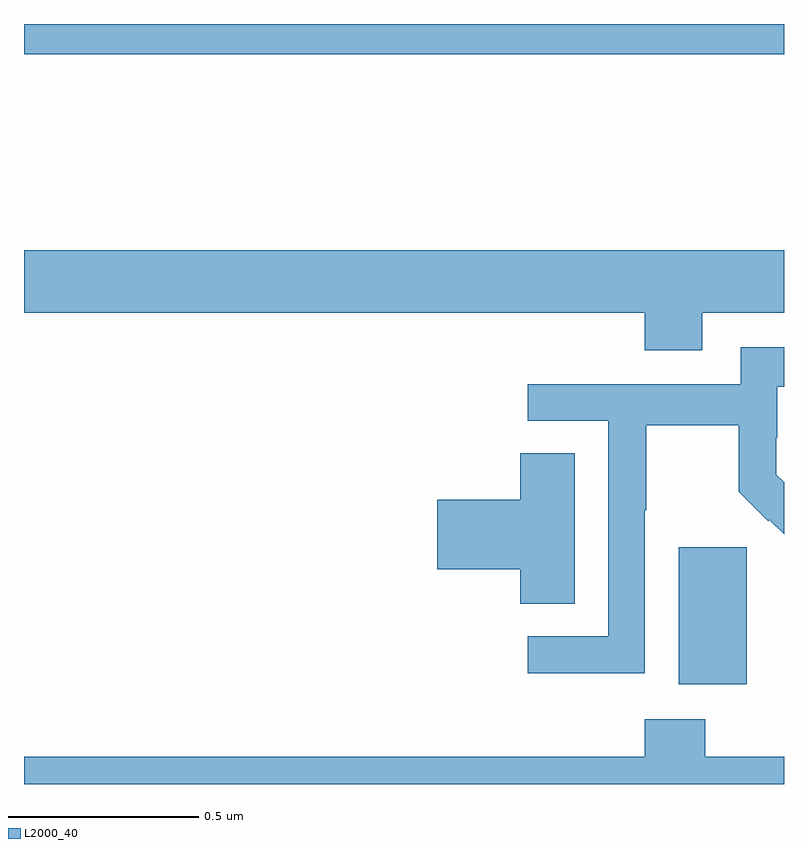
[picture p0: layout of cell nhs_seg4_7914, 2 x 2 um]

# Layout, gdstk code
import gdstk
lib = gdstk.Library(unit=1e-6, precision=1e-09)
def R(c, l, rs):  # rectangles x0, y0, x1, y1
    for r in rs: c.add(gdstk.rectangle(r[:2], r[2:], *l))
def P(c, l, *ps):  # polygons
    for p in ps: c.add(gdstk.Polygon(p, *l))
L2000_40 = (2000, 40)

nhs_seg4_7914 = lib.new_cell('nhs_seg4_7914')
R(nhs_seg4_7914, L2000_40, [(209.723,809.162,209.902,809.523), (208,810.82,210,810.9)])
P(nhs_seg4_7914, L2000_40, [(209.785,810.14),(210,810.14),(210,810.304),(208,810.304),(208,810.14),(209.633,810.14),(209.633,810.041),(209.785,810.041)],
  [(209.634,809.62),(209.637,809.62),(209.637,809.844),(209.881,809.844),(209.881,809.669),(209.958,809.592),(209.961,809.595),(210,809.557),(210,809.694),(209.98,809.714),(209.98,809.811),(209.982,809.811),(209.982,809.945),(210,809.945),(210,810.049),(209.886,810.049),(209.886,809.952),(209.325,809.952),(209.325,809.856),(209.538,809.856),(209.538,809.289),(209.325,809.289),(209.325,809.191),(209.634,809.191)],
  [(209.449,809.771),(209.306,809.771),(209.306,809.648),(209.088,809.648),(209.088,809.465),(209.306,809.465),(209.306,809.374),(209.449,809.374)],
  [(210,808.972),(209.793,808.972),(209.793,809.071),(209.633,809.071),(209.633,808.972),(208,808.972),(208,808.9),(210,808.9)])

lib.write_gds('nhs_seg4_7914.gds')
